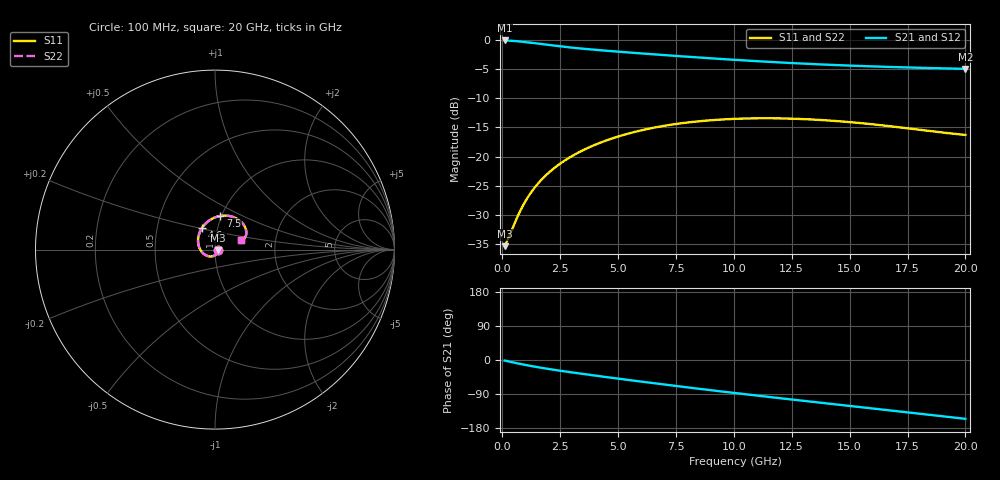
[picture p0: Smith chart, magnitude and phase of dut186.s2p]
! Created with skrf 1.9.0 (http://scikit-rf.org).
# GHz S RI R 50.0
!freq ReS11 ImS11 ReS21 ImS21 ReS12 ImS12 ReS22 ImS22
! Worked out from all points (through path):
!   200 points, 100 MHz to 20 GHz, reference 50 ohm
!   highest |S21| = -0.15 dB at 100 MHz (marker M1); lowest = -5.0 dB at 20 GHz (marker M2)
!   group delay of S21, straight-line fit = 20.5 ps
!   lowest |S11| = -35.3 dB at 100 MHz (marker M3), VSWR 1.03, Z = 51.7 - j0.428 ohm
!   |S11| at or under -10 dB: start of sweep to end of sweep
!   |S22| runs from -35.3 to -13.4 dB; largest |S21 - S12| = 2e-15
!   S11 on the Smith chart (normalised r, x): 100 MHz: 1.03, -0.01; 4.6 GHz: 0.84, +0.20; 7.5 GHz: 0.99, +0.38; 20 GHz: 1.32, +0.15
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0.1  0.0167 -0.00414  0.9823 -0.0249  0.9823 -0.0249  0.0167 -0.00414
0.3  0.0144 -0.0152  0.9762 -0.0709  0.9762 -0.0709  0.0144 -0.0152
0.7  -0.000717 -0.032  0.9527 -0.1575  0.9527 -0.1575  -0.000717 -0.032
0.9  -0.0115 -0.0366  0.9362 -0.1967  0.9362 -0.1967  -0.0115 -0.0366
1.2  -0.0292 -0.0381  0.9076 -0.2497  0.9076 -0.2497  -0.0292 -0.0381
1.5  -0.0466 -0.0337  0.8764 -0.2961  0.8764 -0.2961  -0.0466 -0.0337
1.9  -0.0667 -0.0204  0.8335 -0.3492  0.8335 -0.3492  -0.0667 -0.0204
2.4  -0.0842 0.00359  0.7802 -0.405  0.7802 -0.405  -0.0842 0.00359
2.9  -0.0929 0.0313  0.7282 -0.4525  0.7282 -0.4525  -0.0929 0.0313
3.5  -0.0934 0.0648  0.6671 -0.5017  0.6671 -0.5017  -0.0934 0.0648
4.6  -0.0738 0.1187  0.5559 -0.5748  0.5559 -0.5748  -0.0738 0.1187
5.7  -0.0385 0.1575  0.4442 -0.6279  0.4442 -0.6279  -0.0385 0.1575
6.8  0.00325 0.1805  0.3335 -0.6621  0.3335 -0.6621  0.00325 0.1805
7.5  0.0303 0.1875  0.2646 -0.6746  0.2646 -0.6746  0.0303 0.1875
8.8  0.0771 0.1878  0.1419 -0.6811  0.1419 -0.6811  0.0771 0.1878
10.1  0.116 0.1755  0.0283 -0.6691  0.0283 -0.6691  0.116 0.1755
11.7  0.1503 0.1502  -0.0978 -0.6345  -0.0978 -0.6345  0.1503 0.1502
13.4  0.1699 0.1189  -0.215 -0.5789  -0.215 -0.5789  0.1699 0.1189
15.1  0.1746 0.0899  -0.3156 -0.5081  -0.3156 -0.5081  0.1746 0.0899
16.7  0.1686 0.0691  -0.3954 -0.4293  -0.3954 -0.4293  0.1686 0.0691
18.4  0.1559 0.057  -0.4635 -0.334  -0.4635 -0.334  0.1559 0.057
20  0.1426 0.0561  -0.5103 -0.2348  -0.5103 -0.2348  0.1426 0.0561
